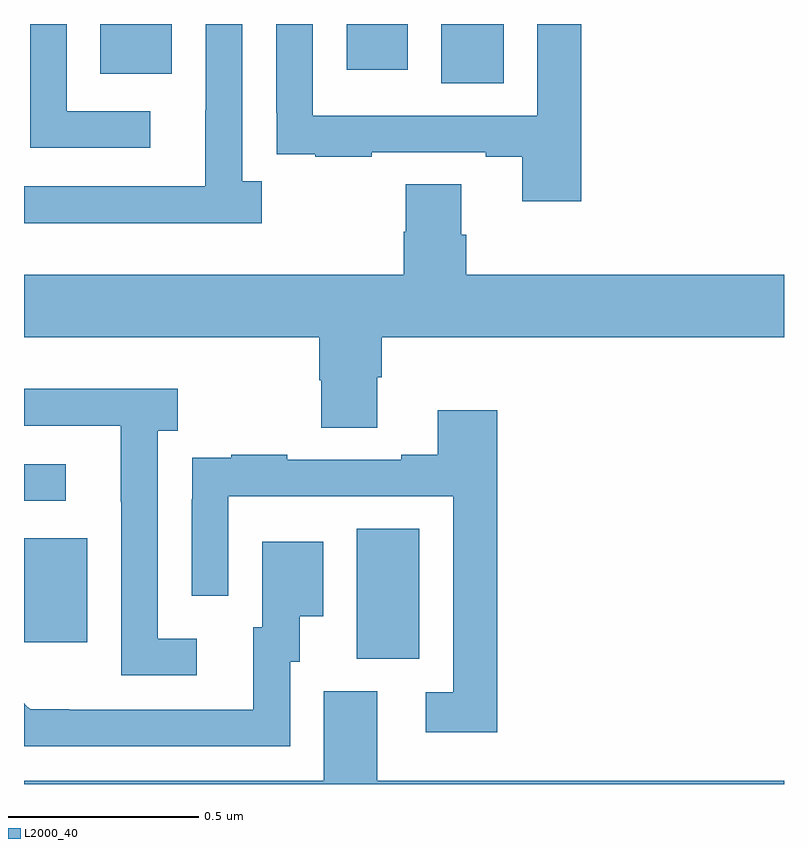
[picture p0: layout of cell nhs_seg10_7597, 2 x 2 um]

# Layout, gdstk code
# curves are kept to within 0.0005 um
import gdstk
lib = gdstk.Library(unit=1e-6, precision=1e-09)
def R(c, l, rs):  # rectangles x0, y0, x1, y1
    for r in rs: c.add(gdstk.rectangle(r[:2], r[2:], *l))
def P(c, l, *ps):  # polygons
    for p in ps: c.add(gdstk.Polygon(p, *l))
L2000_40 = (2000, 40)

nhs_seg10_7597 = lib.new_cell('nhs_seg10_7597')
R(nhs_seg10_7597, L2000_40, [(206.876,1272.829,207.04,1273.172), (206,1272.873,206.167,1273.147), (206,1273.245,206.11,1273.341), (207.098,1274.344,207.262,1274.5), (206.201,1274.369,206.389,1274.5), (206.849,1274.379,207.01,1274.5)])
P(nhs_seg10_7597, L2000_40, [(206.332,1274.271),(206.112,1274.271),(206.112,1274.5),(206.016,1274.5),(206.016,1274.175),(206.332,1274.175)],
  [(207.467,1274.5),(207.351,1274.5),(207.351,1274.259),(206.76,1274.259),(206.76,1274.5),(206.664,1274.5),(206.664,1274.266),(206.665,1274.266),(206.665,1274.157),(206.767,1274.157),(206.767,1274.151),(206.915,1274.151),(206.915,1274.163),(207.215,1274.163),(207.215,1274.151),(207.311,1274.151),(207.311,1274.034),(207.467,1274.034)],
  [(206.626,1274.086),(206.574,1274.086),(206.574,1274.5),(206.478,1274.5),(206.478,1274.273),(206.477,1274.273),(206.477,1274.073),(206,1274.073),(206,1273.976),(206.626,1273.976)],
  [(206.929,1273.57),(206.942,1273.57),(206.942,1273.676),(208,1273.676),(208,1273.84),(207.164,1273.84),(207.164,1273.946),(207.151,1273.946),(207.151,1274.078),(207.004,1274.078),(207.004,1273.953),(206.999,1273.953),(206.999,1273.84),(206,1273.84),(206,1273.676),(206.777,1273.676),(206.777,1273.563),(206.782,1273.563),(206.782,1273.438),(206.929,1273.438)],
  [(206.455,1272.882),(206.352,1272.882),(206.352,1273.43),(206.404,1273.43),(206.404,1273.54),(206,1273.54),(206,1273.443),(206.255,1273.443),(206.255,1273.243),(206.256,1273.243),(206.256,1272.786),(206.455,1272.786)],
  [(207.245,1273.483),(207.089,1273.483),(207.089,1273.366),(206.993,1273.366),(206.993,1273.353),(206.693,1273.353),(206.693,1273.366),(206.545,1273.366),(206.545,1273.359),(206.443,1273.359),(206.443,1273.25),(206.442,1273.25),(206.442,1272.996),(206.538,1272.996),(206.538,1273.257),(207.129,1273.257),(207.129,1272.741),(207.057,1272.741),(207.057,1272.636),(207.245,1272.636)],
  [(206.7,1272.822),(206.725,1272.822),(206.725,1272.941),(206.788,1272.941),(206.788,1273.138),(206.627,1273.138),(206.627,1272.912),(206.603,1272.912),(206.603,1272.696),(206.119,1272.696),(206.119,1272.697),(206.016,1272.697),(206,1272.712),(206,1272.6),(206.7,1272.6)],
  [(208,1272.508),(206.929,1272.508),(206.929,1272.744),(206.789,1272.744),(206.789,1272.508),(206,1272.508),(206,1272.5),(208,1272.5)])

lib.write_gds('nhs_seg10_7597.gds')
